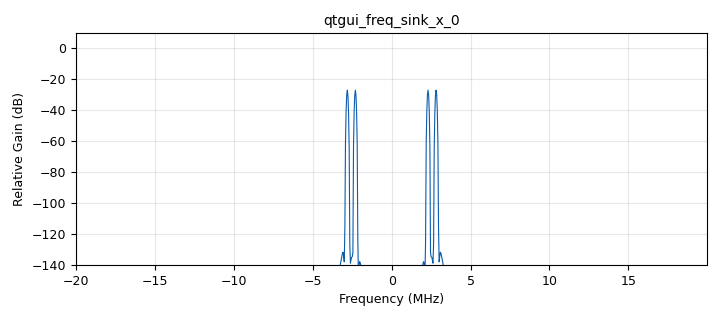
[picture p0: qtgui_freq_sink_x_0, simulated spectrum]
options:
  parameters:
    generate_options: qt_gui
    id: test_signal_generator
    output_language: python
    title: Not titled yet
  states: {}

blocks:
- name: Fh
  id: variable
  parameters:
    value: Fv*lines_per_frame/2
  states: {}
- name: Fv
  id: variable
  parameters:
    comment: |-
      50 (PAL)
      60 (NTSC)
    value: '60'
  states: {}
- name: L_carrier_ref
  id: variable
  parameters:
    value: 146.25* Fh
  states: {}
- name: R_carrier_ref
  id: variable
  parameters:
    value: 178.75 * Fh
  states: {}
- name: lines_per_frame
  id: variable
  parameters:
    comment: |-
      625 (PAL)
      525 (NTSC)
      624 (PAL 624)
    value: '525'
  states: {}
- name: samp_rate
  id: variable
  parameters:
    value: 40e6
  states: {}
- name: analog_sig_source_x_0
  id: analog_sig_source_x
  parameters:
    amp: 1/4
    freq: R_carrier_ref
    offset: '0'
    phase: '0'
    samp_rate: samp_rate
    type: float
    waveform: analog.GR_COS_WAVE
  states: {}
- name: analog_sig_source_x_1
  id: analog_sig_source_x
  parameters:
    amp: 1/4
    freq: L_carrier_ref
    offset: '0'
    phase: '0'
    samp_rate: samp_rate
    type: float
    waveform: analog.GR_COS_WAVE
  states: {}
- name: blocks_add_const_vxx_0
  id: blocks_add_const_vxx
  parameters:
    const: '0.5'
    type: float
  states: {}
- name: blocks_add_xx_0
  id: blocks_add_xx
  parameters:
    type: float
  states: {}
- name: blocks_file_sink_0
  id: blocks_file_sink
  parameters:
    file: test_sample.r16
    type: short
  states: {}
- name: blocks_float_to_short_0
  id: blocks_float_to_short
  parameters:
    scale: 0xFFFF/2
  states: {}
- name: qtgui_freq_sink_x_0
  id: qtgui_freq_sink_x
  parameters:
    bw: samp_rate
    fc: '0'
    fftsize: '1024'
    type: float
    wintype: firdes.WIN_BLACKMAN_hARRIS
  states: {}

connections:
- [analog_sig_source_x_0, '0', blocks_add_xx_0, '0']
- [analog_sig_source_x_1, '0', blocks_add_xx_0, '1']
- [blocks_add_const_vxx_0, '0', blocks_float_to_short_0, '0']
- [blocks_add_xx_0, '0', blocks_add_const_vxx_0, '0']
- [blocks_add_xx_0, '0', qtgui_freq_sink_x_0, '0']
- [blocks_float_to_short_0, '0', blocks_file_sink_0, '0']

metadata:
  file_format: 1
